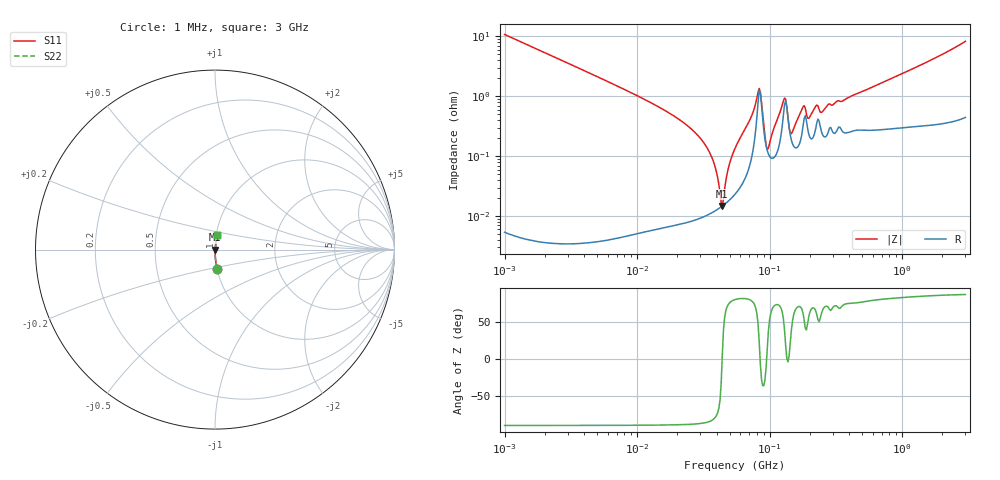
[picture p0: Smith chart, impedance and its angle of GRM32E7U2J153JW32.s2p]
!Murata Part Number: GRM32E7U2J153JW32
!These Parameters are Measured in Series Mode Connection
!Data Generated on Mar 30, 2021
!  o--ll--o
!Port1  Port2
!  o------o
!Operation Temp=25[degC], DC Bias Voltage=0[V]
!Freq. Start=1000[kHz] Stop=3[GHz] 401[Steps]
# Hz S RI R 50
!Freq.(Hz) S11(Real) S11(Imag) S21(Real) S21(Imag) S12(Real) S12(Imag) S22(Real) S22(Imag)
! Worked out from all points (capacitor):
!   401 points, 1 MHz to 3 GHz, reference 50 ohm
!   read as one part in series: C = 14.7 nF near 1.041 MHz
!   lowest |Z| = 14.8 mohm at 43.95 MHz (marker M1)
!   series resonance near 43.83 MHz, so ESL is about 890 pH
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1000000  0.0116 -0.1067  0.9884 0.1067  0.9884 0.1067  0.0116 -0.1067
3823119  0.00082 -0.028  0.9992 0.028  0.9992 0.028  0.00082 -0.028
1.461624e7  0.000105 -0.00661  0.9999 0.00661  0.9999 0.00661  0.000105 -0.00661
3.190472e7  0.000101 -0.00167  0.9999 0.00167  0.9999 0.00167  0.000101 -0.00167
3.74453e7  0.000117 -0.000833  0.9999 0.000833  0.9999 0.000833  0.000117 -0.000833
4.22235e7  0.000138 -0.000201  0.9999 0.000201  0.9999 0.000201  0.000138 -0.000201
4.394807e7  0.000147 1.48e-05  0.9999 -1.48e-05  0.9999 -1.48e-05  0.000147 1.48e-05
4.955604e7  0.000184 0.000696  0.9998 -0.000696  0.9998 -0.000696  0.000184 0.000696
5.477226e7  0.000233 0.00133  0.9998 -0.00133  0.9998 -0.00133  0.000233 0.00133
7.248696e7  0.00089 0.00442  0.9991 -0.00442  0.9991 -0.00442  0.00089 0.00442
8.173662e7  0.00784 0.0085  0.9922 -0.0085  0.9922 -0.0085  0.00784 0.0085
8.507507e7  0.0116 -0.00142  0.9884 0.00142  0.9884 0.00142  0.0116 -0.00142
9.402997e7  0.00149 -0.000297  0.9985 0.000297  0.9985 0.000297  0.00149 -0.000297
9.787052e7  0.00109 0.000842  0.9989 -0.000842  0.9989 -0.000842  0.00109 0.000842
1.269575e8  0.00487 0.00674  0.9951 -0.00674  0.9951 -0.00674  0.00487 0.00674
1.321429e8  0.00841 0.00263  0.9916 -0.00263  0.9916 -0.00263  0.00841 0.00263
1.460522e8  0.00183 0.00151  0.9982 -0.00151  0.9982 -0.00151  0.00183 0.00151
1.784169e8  0.00311 0.00583  0.9969 -0.00583  0.9969 -0.00583  0.00311 0.00583
1.971969e8  0.00235 0.00358  0.9976 -0.00358  0.9976 -0.00358  0.00235 0.00358
2.094008e8  0.00199 0.00498  0.998 -0.00498  0.998 -0.00498  0.00199 0.00498
8.005644e8  0.00319 0.0188  0.9968 -0.0188  0.9968 -0.0188  0.00319 0.0188
3e9  0.0111 0.0815  0.9889 -0.0815  0.9889 -0.0815  0.0111 0.0815
